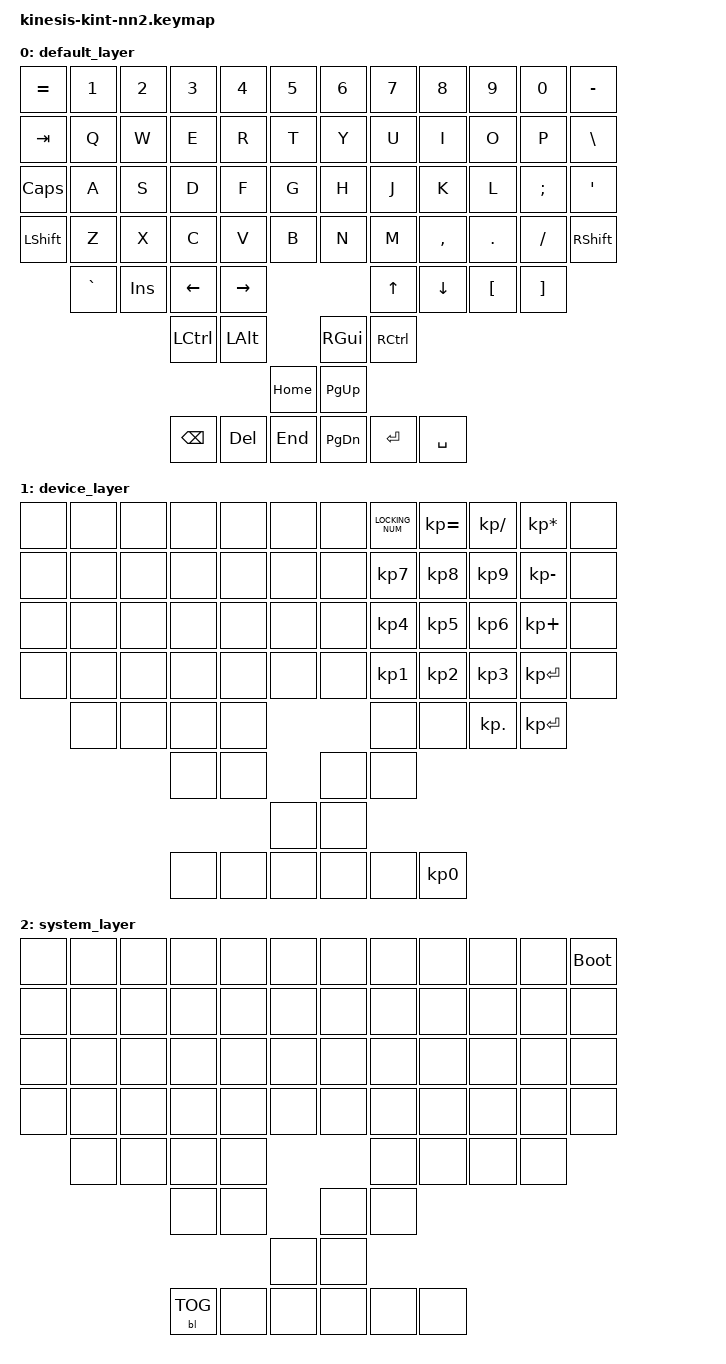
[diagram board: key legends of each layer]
/*
 * Copyright (c) 2020 The ZMK Contributors
 *
 * SPDX-License-Identifier: MIT
 */

#include <behaviors.dtsi>
#include <dt-bindings/zmk/keys.h>
#include <dt-bindings/zmk/bt.h>


/ {
    keymap {
        compatible = "zmk,keymap";

        default_layer {
            bindings = <
    &kp EQUAL       &kp N1    &kp N2     &kp N3    &kp N4    &kp N5              &kp N6    &kp N7    &kp N8    &kp N9            &kp N0            &kp MINUS
    &kp TAB         &kp Q     &kp W      &kp E     &kp R     &kp T               &kp Y     &kp U     &kp I     &kp O             &kp P             &kp BACKSLASH
    &kp CAPSLOCK    &kp A     &kp S      &kp D     &kp F     &kp G               &kp H     &kp J     &kp K     &kp L             &kp SEMICOLON     &kp SINGLE_QUOTE
    &kp LEFT_SHIFT  &kp Z     &kp X      &kp C     &kp V     &kp B               &kp N     &kp M     &kp COMMA &kp DOT           &kp SLASH         &kp RIGHT_SHIFT
                    &kp GRAVE &kp INSERT &kp LEFT  &kp RIGHT                               &kp UP    &kp DOWN  &kp LEFT_BRACKET  &kp RIGHT_BRACKET
                                              &kp LEFT_CONTROL  &kp LEFT_ALT   &kp RIGHT_GUI  &kp RIGHT_CONTROL
                                                                &kp HOME       &kp PAGE_UP
                                    &kp BACKSPACE  &kp DELETE   &kp END        &kp PAGE_DOWN  &kp ENTER &kp SPACE
            >;
        };
        
        device_layer {
            bindings = <
    &none  &none  &none  &none  &none  &none                                      &none  &kp LOCKING_NUM   &kp KP_EQUAL  &kp KP_SLASH  &kp KP_ASTERISK  &none
    &none  &none  &none  &none  &none  &none                                      &none  &kp KP_N7         &kp KP_N8     &kp KP_N9     &kp KP_MINUS     &none
    &none  &none  &none  &none  &none  &none                                      &none  &kp KP_N4         &kp KP_N5     &kp KP_N6     &kp KP_PLUS      &none
    &none  &none  &none  &none  &none  &none                                      &none  &kp KP_N1         &kp KP_N2     &kp KP_N3     &kp KP_ENTER     &none
           &none  &none  &none  &none                                                    &none             &none         &kp KP_DOT    &kp KP_ENTER
                                              &none  &none           &none  &none
                                                     &none           &none
                                       &none  &none  &none           &none  &none  &kp KP_N0
            >;
        };

        system_layer {
            bindings = <
    &none  &none  &none  &none  &none  &none                                      &none  &none  &none  &none  &none  &bootloader
    &none  &none  &none  &none  &none  &none                                      &none  &none  &none  &none  &none  &none
    &none  &none  &none  &none  &none  &none                                      &none  &none  &none  &none  &none  &none
    &none  &none  &none  &none  &none  &none                                      &none  &none  &none  &none  &none  &none
           &none  &none  &none  &none                                                    &none  &none  &none  &none
                                              &none  &none           &none  &none
                                                     &none           &none
                                  &bl BL_TOG  &none  &none           &none  &none  &none
            >;
        };

    };
};


